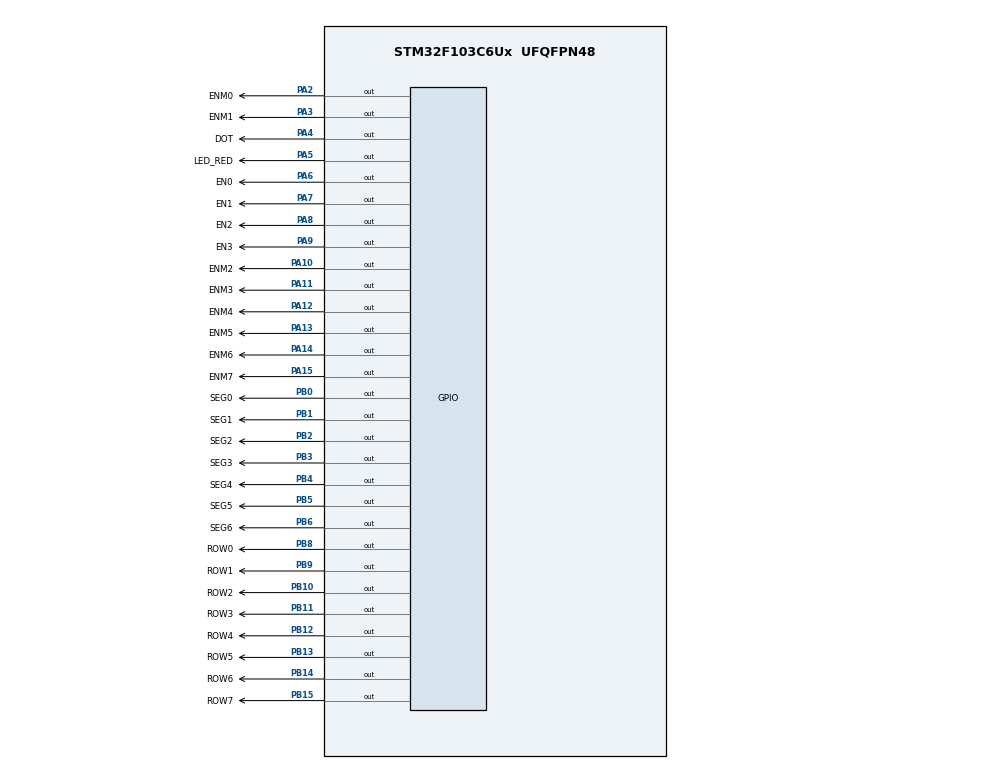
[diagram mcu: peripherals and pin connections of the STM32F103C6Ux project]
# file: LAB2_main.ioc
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Mcu.Family=STM32F1
Mcu.Name=STM32F103C6Ux
Mcu.Package=UFQFPN48
NVIC.PriorityGroup=NVIC_PRIORITYGROUP_4
NVIC.TIM2_IRQn=true\:0\:0\:false\:false\:true\:true\:true
PA10.GPIO_Label=ENM2
PA10.Signal=GPIO_Output
PA11.GPIO_Label=ENM3
PA11.Signal=GPIO_Output
PA12.GPIO_Label=ENM4
PA12.Signal=GPIO_Output
PA13.GPIO_Label=ENM5
PA13.Signal=GPIO_Output
PA14.GPIO_Label=ENM6
PA14.Signal=GPIO_Output
PA15.GPIO_Label=ENM7
PA15.Signal=GPIO_Output
PA2.GPIO_Label=ENM0
PA2.Signal=GPIO_Output
PA3.GPIO_Label=ENM1
PA3.Signal=GPIO_Output
PA4.GPIO_Label=DOT
PA4.Signal=GPIO_Output
PA5.GPIO_Label=LED_RED
PA5.Signal=GPIO_Output
PA6.GPIO_Label=EN0
PA6.Signal=GPIO_Output
PA7.GPIO_Label=EN1
PA7.Signal=GPIO_Output
PA8.GPIO_Label=EN2
PA8.Signal=GPIO_Output
PA9.GPIO_Label=EN3
PA9.Signal=GPIO_Output
PB0.GPIO_Label=SEG0
PB0.Signal=GPIO_Output
PB1.GPIO_Label=SEG1
PB1.Signal=GPIO_Output
PB10.GPIO_Label=ROW2
PB10.Signal=GPIO_Output
PB11.GPIO_Label=ROW3
PB11.Signal=GPIO_Output
PB12.GPIO_Label=ROW4
PB12.Signal=GPIO_Output
PB13.GPIO_Label=ROW5
PB13.Signal=GPIO_Output
PB14.GPIO_Label=ROW6
PB14.Signal=GPIO_Output
PB15.GPIO_Label=ROW7
PB15.Signal=GPIO_Output
PB2.GPIO_Label=SEG2
PB2.Signal=GPIO_Output
PB3.GPIO_Label=SEG3
PB3.Signal=GPIO_Output
PB4.GPIO_Label=SEG4
PB4.Signal=GPIO_Output
PB5.GPIO_Label=SEG5
PB5.Signal=GPIO_Output
PB6.GPIO_Label=SEG6
PB6.Signal=GPIO_Output
PB8.GPIO_Label=ROW0
PB8.Signal=GPIO_Output
PB9.GPIO_Label=ROW1
PB9.Signal=GPIO_Output
ProjectManager.HeapSize=0x200
ProjectManager.StackSize=0x400
ProjectManager.TargetToolchain=STM32CubeIDE
RCC.APB1Freq_Value=8000000
RCC.APB2Freq_Value=8000000
TIM2.Period=9
TIM2.Prescaler=7999
VP_SYS_VS_ND.Mode=No_Debug
VP_TIM2_VS_ClockSourceINT.Mode=Internal
board=custom

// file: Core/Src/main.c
/* USER CODE BEGIN Header */
/**
  ******************************************************************************
  * @file           : main.c
  * @brief          : Main program body
  ******************************************************************************
  * @attention
  *
  * <h2><center>&copy; Copyright (c) 2023 STMicroelectronics.
  * All rights reserved.</center></h2>
  *
  * This software component is licensed by ST under BSD 3-Clause license,
  * the "License"; You may not use this file except in compliance with the
  * License. You may obtain a copy of the License at:
  *                        opensource.org/licenses/BSD-3-Clause
  *
  ******************************************************************************
  */
/* USER CODE END Header */
#include "main.h"

/* USER CODE BEGIN Includes */
#include "software_timer.h"
/* USER CODE END Includes */

TIM_HandleTypeDef htim2;

void SystemClock_Config(void);
static void MX_GPIO_Init(void);
static void MX_TIM2_Init(void);

void display7SEG(int num){
	switch(num){
	case 0:
		HAL_GPIO_WritePin(SEG0_GPIO_Port, SEG0_Pin, GPIO_PIN_RESET);
		HAL_GPIO_WritePin(SEG1_GPIO_Port, SEG1_Pin, GPIO_PIN_RESET);
		HAL_GPIO_WritePin(SEG2_GPIO_Port, SEG2_Pin, GPIO_PIN_RESET);
		HAL_GPIO_WritePin(SEG3_GPIO_Port, SEG3_Pin, GPIO_PIN_RESET);
		HAL_GPIO_WritePin(SEG4_GPIO_Port, SEG4_Pin, GPIO_PIN_RESET);
		HAL_GPIO_WritePin(SEG5_GPIO_Port, SEG5_Pin, GPIO_PIN_RESET);
		HAL_GPIO_WritePin(SEG6_GPIO_Port, SEG6_Pin, GPIO_PIN_SET);
		break;
	case 1:
		HAL_GPIO_WritePin(SEG0_GPIO_Port, SEG0_Pin, GPIO_PIN_SET);
		HAL_GPIO_WritePin(SEG1_GPIO_Port, SEG1_Pin, GPIO_PIN_RESET);
		HAL_GPIO_WritePin(SEG2_GPIO_Port, SEG2_Pin, GPIO_PIN_RESET);
		HAL_GPIO_WritePin(SEG3_GPIO_Port, SEG3_Pin, GPIO_PIN_SET);
		HAL_GPIO_WritePin(SEG4_GPIO_Port, SEG4_Pin, GPIO_PIN_SET);
		HAL_GPIO_WritePin(SEG5_GPIO_Port, SEG5_Pin, GPIO_PIN_SET);
		HAL_GPIO_WritePin(SEG6_GPIO_Port, SEG6_Pin, GPIO_PIN_SET);
		break;
	case 2:
		HAL_GPIO_WritePin(SEG0_GPIO_Port, SEG0_Pin, GPIO_PIN_RESET);
		HAL_GPIO_WritePin(SEG1_GPIO_Port, SEG1_Pin, GPIO_PIN_RESET);
		HAL_GPIO_WritePin(SEG2_GPIO_Port, SEG2_Pin, GPIO_PIN_SET);
		HAL_GPIO_WritePin(SEG3_GPIO_Port, SEG3_Pin, GPIO_PIN_RESET);
		HAL_GPIO_WritePin(SEG4_GPIO_Port, SEG4_Pin, GPIO_PIN_RESET);
		HAL_GPIO_WritePin(SEG5_GPIO_Port, SEG5_Pin, GPIO_PIN_SET);
		HAL_GPIO_WritePin(SEG6_GPIO_Port, SEG6_Pin, GPIO_PIN_RESET);
		break;
	case 3:
		HAL_GPIO_WritePin(SEG0_GPIO_Port, SEG0_Pin, GPIO_PIN_RESET);
		HAL_GPIO_WritePin(SEG1_GPIO_Port, SEG1_Pin, GPIO_PIN_RESET);
		HAL_GPIO_WritePin(SEG2_GPIO_Port, SEG2_Pin, GPIO_PIN_RESET);
		HAL_GPIO_WritePin(SEG3_GPIO_Port, SEG3_Pin, GPIO_PIN_RESET);
		HAL_GPIO_WritePin(SEG4_GPIO_Port, SEG4_Pin, GPIO_PIN_SET);
		HAL_GPIO_WritePin(SEG5_GPIO_Port, SEG5_Pin, GPIO_PIN_SET);
		HAL_GPIO_WritePin(SEG6_GPIO_Port, SEG6_Pin, GPIO_PIN_RESET);
		break;
	case 4:
		HAL_GPIO_WritePin(SEG0_GPIO_Port, SEG0_Pin, GPIO_PIN_SET);
		HAL_GPIO_WritePin(SEG1_GPIO_Port, SEG1_Pin, GPIO_PIN_RESET);
		HAL_GPIO_WritePin(SEG2_GPIO_Port, SEG2_Pin, GPIO_PIN_RESET);
		HAL_GPIO_WritePin(SEG3_GPIO_Port, SEG3_Pin, GPIO_PIN_SET);
		HAL_GPIO_WritePin(SEG4_GPIO_Port, SEG4_Pin, GPIO_PIN_SET);
		HAL_GPIO_WritePin(SEG5_GPIO_Port, SEG5_Pin, GPIO_PIN_RESET);
		HAL_GPIO_WritePin(SEG6_GPIO_Port, SEG6_Pin, GPIO_PIN_RESET);
		break;
	case 5:
		HAL_GPIO_WritePin(SEG0_GPIO_Port, SEG0_Pin, GPIO_PIN_RESET);
		HAL_GPIO_WritePin(SEG1_GPIO_Port, SEG1_Pin, GPIO_PIN_SET);
		HAL_GPIO_WritePin(SEG2_GPIO_Port, SEG2_Pin, GPIO_PIN_RESET);
		HAL_GPIO_WritePin(SEG3_GPIO_Port, SEG3_Pin, GPIO_PIN_RESET);
		HAL_GPIO_WritePin(SEG4_GPIO_Port, SEG4_Pin, GPIO_PIN_SET);
		HAL_GPIO_WritePin(SEG5_GPIO_Port, SEG5_Pin, GPIO_PIN_RESET);
		HAL_GPIO_WritePin(SEG6_GPIO_Port, SEG6_Pin, GPIO_PIN_RESET);
		break;
	case 6:
		HAL_GPIO_WritePin(SEG0_GPIO_Port, SEG0_Pin, GPIO_PIN_RESET);
		HAL_GPIO_WritePin(SEG1_GPIO_Port, SEG1_Pin, GPIO_PIN_SET);
		HAL_GPIO_WritePin(SEG2_GPIO_Port, SEG2_Pin, GPIO_PIN_RESET);
		HAL_GPIO_WritePin(SEG3_GPIO_Port, SEG3_Pin, GPIO_PIN_RESET);
		HAL_GPIO_WritePin(SEG4_GPIO_Port, SEG4_Pin, GPIO_PIN_RESET);
		HAL_GPIO_WritePin(SEG5_GPIO_Port, SEG5_Pin, GPIO_PIN_RESET);
		HAL_GPIO_WritePin(SEG6_GPIO_Port, SEG6_Pin, GPIO_PIN_RESET);
		break;
	case 7:
		HAL_GPIO_WritePin(SEG0_GPIO_Port, SEG0_Pin, GPIO_PIN_RESET);
		HAL_GPIO_WritePin(SEG1_GPIO_Port, SEG1_Pin, GPIO_PIN_RESET);
		HAL_GPIO_WritePin(SEG2_GPIO_Port, SEG2_Pin, GPIO_PIN_RESET);
		HAL_GPIO_WritePin(SEG3_GPIO_Port, SEG3_Pin, GPIO_PIN_SET);
		HAL_GPIO_WritePin(SEG4_GPIO_Port, SEG4_Pin, GPIO_PIN_SET);
		HAL_GPIO_WritePin(SEG5_GPIO_Port, SEG5_Pin, GPIO_PIN_SET);
		HAL_GPIO_WritePin(SEG6_GPIO_Port, SEG6_Pin, GPIO_PIN_SET);
		break;
	case 8:
		HAL_GPIO_WritePin(SEG0_GPIO_Port, SEG0_Pin, GPIO_PIN_RESET);
		HAL_GPIO_WritePin(SEG1_GPIO_Port, SEG1_Pin, GPIO_PIN_RESET);
		HAL_GPIO_WritePin(SEG2_GPIO_Port, SEG2_Pin, GPIO_PIN_RESET);
		HAL_GPIO_WritePin(SEG3_GPIO_Port, SEG3_Pin, GPIO_PIN_RESET);
		HAL_GPIO_WritePin(SEG4_GPIO_Port, SEG4_Pin, GPIO_PIN_RESET);
		HAL_GPIO_WritePin(SEG5_GPIO_Port, SEG5_Pin, GPIO_PIN_RESET);
		HAL_GPIO_WritePin(SEG6_GPIO_Port, SEG6_Pin, GPIO_PIN_RESET);
		break;
	case 9:
		HAL_GPIO_WritePin(SEG0_GPIO_Port, SEG0_Pin, GPIO_PIN_RESET);
		HAL_GPIO_WritePin(SEG1_GPIO_Port, SEG1_Pin, GPIO_PIN_RESET);
		HAL_GPIO_WritePin(SEG2_GPIO_Port, SEG2_Pin, GPIO_PIN_RESET);
		HAL_GPIO_WritePin(SEG3_GPIO_Port, SEG3_Pin, GPIO_PIN_RESET);
		HAL_GPIO_WritePin(SEG4_GPIO_Port, SEG4_Pin, GPIO_PIN_SET);
		HAL_GPIO_WritePin(SEG5_GPIO_Port, SEG5_Pin, GPIO_PIN_RESET);
		HAL_GPIO_WritePin(SEG6_GPIO_Port, SEG6_Pin, GPIO_PIN_RESET);
		break;
	default:
		break;
	}
}
const int MAX_LED = 4;
int index_led = 0;
int led_buffer[4] = {2,3,5,9};
int hour = 23, minute = 59, second = 55;
void update7SEG(int index){
	switch(index){
	case 0:
		  HAL_GPIO_WritePin(EN0_GPIO_Port, EN0_Pin, GPIO_PIN_RESET);
		  HAL_GPIO_WritePin(EN1_GPIO_Port, EN1_Pin, GPIO_PIN_SET);
		  HAL_GPIO_WritePin(EN2_GPIO_Port, EN2_Pin, GPIO_PIN_SET);
		  HAL_GPIO_WritePin(EN3_GPIO_Port, EN3_Pin, GPIO_PIN_SET);
		  display7SEG(led_buffer[0]);
		break;
	case 1:
		  HAL_GPIO_WritePin(EN0_GPIO_Port, EN0_Pin, GPIO_PIN_SET);
		  HAL_GPIO_WritePin(EN1_GPIO_Port, EN1_Pin, GPIO_PIN_RESET);
		  HAL_GPIO_WritePin(EN2_GPIO_Port, EN2_Pin, GPIO_PIN_SET);
		  HAL_GPIO_WritePin(EN3_GPIO_Port, EN3_Pin, GPIO_PIN_SET);
		  display7SEG(led_buffer[1]);
		break;
	case 2:
		  HAL_GPIO_WritePin(EN0_GPIO_Port, EN0_Pin, GPIO_PIN_SET);
		  HAL_GPIO_WritePin(EN1_GPIO_Port, EN1_Pin, GPIO_PIN_SET);
		  HAL_GPIO_WritePin(EN2_GPIO_Port, EN2_Pin, GPIO_PIN_RESET);
		  HAL_GPIO_WritePin(EN3_GPIO_Port, EN3_Pin, GPIO_PIN_SET);
		  display7SEG(led_buffer[2]);
		break;
	case 3:
		  HAL_GPIO_WritePin(EN0_GPIO_Port, EN0_Pin, GPIO_PIN_SET);
		  HAL_GPIO_WritePin(EN1_GPIO_Port, EN1_Pin, GPIO_PIN_SET);
		  HAL_GPIO_WritePin(EN2_GPIO_Port, EN2_Pin, GPIO_PIN_SET);
		  HAL_GPIO_WritePin(EN3_GPIO_Port, EN3_Pin, GPIO_PIN_RESET);
		  display7SEG(led_buffer[3]);
		break;
	default:
		break;
	}
}
void updateClockBuffer(){
	led_buffer[0] = (int)(hour / 10);
	led_buffer[1] = hour % 10;
	led_buffer[2] = (int)(minute / 10);
	led_buffer[3] = minute % 10;
}
const int MAX_LED_MATRIX = 8;
int index_led_matrix = 0;
int shift = 0;
uint8_t matrix_buffer[8] = {0x18, 0x3C, 0x66, 0x66, 0x7E, 0x7E, 0x66, 0x66};
uint16_t cols[8] = {ENM0_Pin, ENM1_Pin, ENM2_Pin, ENM3_Pin, ENM4_Pin, ENM5_Pin, ENM6_Pin, ENM7_Pin};
void clearAllMatrix(){
	  HAL_GPIO_WritePin(GPIOB, ROW0_Pin, SET);
	  HAL_GPIO_WritePin(GPIOB, ROW1_Pin, SET);
	  HAL_GPIO_WritePin(GPIOB, ROW2_Pin, SET);
	  HAL_GPIO_WritePin(GPIOB, ROW3_Pin, SET);
	  HAL_GPIO_WritePin(GPIOB, ROW4_Pin, SET);
	  HAL_GPIO_WritePin(GPIOB, ROW5_Pin, SET);
	  HAL_GPIO_WritePin(GPIOB, ROW6_Pin, SET);
	  HAL_GPIO_WritePin(GPIOB, ROW7_Pin, SET);
	  HAL_GPIO_WritePin(GPIOA, ENM0_Pin, SET);
	  HAL_GPIO_WritePin(GPIOA, ENM1_Pin, SET);
	  HAL_GPIO_WritePin(GPIOA, ENM2_Pin, SET);
	  HAL_GPIO_WritePin(GPIOA, ENM3_Pin, SET);
	  HAL_GPIO_WritePin(GPIOA, ENM4_Pin, SET);
	  HAL_GPIO_WritePin(GPIOA, ENM5_Pin, SET);
	  HAL_GPIO_WritePin(GPIOA, ENM6_Pin, SET);
	  HAL_GPIO_WritePin(GPIOA, ENM7_Pin, SET);
}
void updateCols(uint8_t code){
	if((code >> 0) & 1){
		HAL_GPIO_WritePin(GPIOA, cols[(0+shift)%8], RESET);
	}
	if((code >> 1) & 1){
		HAL_GPIO_WritePin(GPIOA, cols[(1+shift)%8], RESET);
	}
	if((code >> 2) & 1){
		HAL_GPIO_WritePin(GPIOA, cols[(2+shift)%8], RESET);
	}
	if((code >> 3) & 1){
		HAL_GPIO_WritePin(GPIOA, cols[(3+shift)%8], RESET);
	}
	if((code >> 4) & 1){
		HAL_GPIO_WritePin(GPIOA, cols[(4+shift)%8], RESET);
	}
	if((code >> 5) & 1){
		HAL_GPIO_WritePin(GPIOA, cols[(5+shift)%8], RESET);
	}
	if((code >> 6) & 1){
		HAL_GPIO_WritePin(GPIOA, cols[(6+shift)%8], RESET);
	}
	if((code >> 7) & 1){
		HAL_GPIO_WritePin(GPIOA, cols[(7+shift)%8], RESET);
	}
}
void updateLEDMatrix(int index){
	clearAllMatrix();
	switch(index){
	case 0:
		HAL_GPIO_WritePin(GPIOB, ROW0_Pin, RESET);
		break;
	case 1:
		HAL_GPIO_WritePin(GPIOB, ROW1_Pin, RESET);
		break;
	case 2:
		HAL_GPIO_WritePin(GPIOB, ROW2_Pin, RESET);
		break;
	case 3:
		HAL_GPIO_WritePin(GPIOB, ROW3_Pin, RESET);
		break;
	case 4:
		HAL_GPIO_WritePin(GPIOB, ROW4_Pin, RESET);
		break;
	case 5:
		HAL_GPIO_WritePin(GPIOB, ROW5_Pin, RESET);
		break;
	case 6:
		HAL_GPIO_WritePin(GPIOB, ROW6_Pin, RESET);
		break;
	case 7:
		HAL_GPIO_WritePin(GPIOB, ROW7_Pin, RESET);
		break;
	default:
		break;
	}
	updateCols(matrix_buffer[index]);
}
int main(void)
{

  /* MCU Configuration--------------------------------------------------------*/

  /* Reset of all peripherals, Initializes the Flash interface and the Systick. */
  HAL_Init();

  /* Configure the system clock */
  SystemClock_Config();

  /* Initialize all configured peripherals */
  MX_GPIO_Init();
  MX_TIM2_Init();
  /* USER CODE BEGIN 2 */
HAL_TIM_Base_Start_IT(&htim2);
  /* USER CODE END 2 */

  /* Infinite loop */
  /* USER CODE BEGIN WHILE */
setTimer0(100);
setTimer1(100);
setTimer2(25);
setTimer3(5);
setTimer4(80);
HAL_GPIO_WritePin(SEG0_GPIO_Port, SEG0_Pin, GPIO_PIN_SET);
HAL_GPIO_WritePin(SEG1_GPIO_Port, SEG1_Pin, GPIO_PIN_SET);
HAL_GPIO_WritePin(SEG2_GPIO_Port, SEG2_Pin, GPIO_PIN_SET);
HAL_GPIO_WritePin(SEG3_GPIO_Port, SEG3_Pin, GPIO_PIN_SET);
HAL_GPIO_WritePin(SEG4_GPIO_Port, SEG4_Pin, GPIO_PIN_SET);
HAL_GPIO_WritePin(SEG5_GPIO_Port, SEG5_Pin, GPIO_PIN_SET);
HAL_GPIO_WritePin(SEG6_GPIO_Port, SEG6_Pin, GPIO_PIN_SET);
HAL_GPIO_WritePin(LED_RED_GPIO_Port, LED_RED_Pin, SET);
HAL_GPIO_WritePin(DOT_GPIO_Port, DOT_Pin, SET);
clearAllMatrix();
  while (1)
  {
	  if(timer0_flag == 1){
		  setTimer0(100);
		  HAL_GPIO_TogglePin(LED_RED_GPIO_Port, LED_RED_Pin);
	  }
	  if(timer1_flag == 1){
		  setTimer1(100);
		  second ++;
		  if(second >= 60){
			  second = 0;
			  minute ++;
		  }
		  if(minute >= 60){
			  minute = 0;
			  hour ++;
		  }
		  if(hour >= 24){
			  hour = 0;
		  }
		  updateClockBuffer();
		  HAL_GPIO_TogglePin(DOT_GPIO_Port, DOT_Pin);
	  }
	  if(timer2_flag == 1){
		  setTimer2(25);
		  if(index_led >= MAX_LED) index_led = 0;
		  update7SEG(index_led ++);
	  }
	  if(timer3_flag == 1){
		  setTimer3(5);
		  if(index_led_matrix >= MAX_LED_MATRIX) index_led_matrix = 0;
		  updateLEDMatrix(index_led_matrix++);
	  }
	  if(timer4_flag == 1){
		  setTimer4(80);
		  shift++;
		  if(shift >= MAX_LED_MATRIX) shift = 0;
	  }
    /* USER CODE END WHILE */

  }
}

void SystemClock_Config(void)
{
  RCC_OscInitTypeDef RCC_OscInitStruct = {0};
  RCC_ClkInitTypeDef RCC_ClkInitStruct = {0};

  /** Initializes the RCC Oscillators according to the specified parameters
  * in the RCC_OscInitTypeDef structure.
  */
  RCC_OscInitStruct.OscillatorType = RCC_OSCILLATORTYPE_HSI;
  RCC_OscInitStruct.HSIState = RCC_HSI_ON;
  RCC_OscInitStruct.HSICalibrationValue = RCC_HSICALIBRATION_DEFAULT;
  RCC_OscInitStruct.PLL.PLLState = RCC_PLL_NONE;
  if (HAL_RCC_OscConfig(&RCC_OscInitStruct) != HAL_OK)
  {
    Error_Handler();
  }
  /** Initializes the CPU, AHB and APB buses clocks
  */
  RCC_ClkInitStruct.ClockType = RCC_CLOCKTYPE_HCLK|RCC_CLOCKTYPE_SYSCLK
                              |RCC_CLOCKTYPE_PCLK1|RCC_CLOCKTYPE_PCLK2;
  RCC_ClkInitStruct.SYSCLKSource = RCC_SYSCLKSOURCE_HSI;
  RCC_ClkInitStruct.AHBCLKDivider = RCC_SYSCLK_DIV1;
  RCC_ClkInitStruct.APB1CLKDivider = RCC_HCLK_DIV1;
  RCC_ClkInitStruct.APB2CLKDivider = RCC_HCLK_DIV1;

  if (HAL_RCC_ClockConfig(&RCC_ClkInitStruct, FLASH_LATENCY_0) != HAL_OK)
  {
    Error_Handler();
  }
}

static void MX_TIM2_Init(void)
{

  TIM_ClockConfigTypeDef sClockSourceConfig = {0};
  TIM_MasterConfigTypeDef sMasterConfig = {0};

  htim2.Instance = TIM2;
  htim2.Init.Prescaler = 7999;
  htim2.Init.CounterMode = TIM_COUNTERMODE_UP;
  htim2.Init.Period = 9;
  htim2.Init.ClockDivision = TIM_CLOCKDIVISION_DIV1;
  htim2.Init.AutoReloadPreload = TIM_AUTORELOAD_PRELOAD_DISABLE;
  if (HAL_TIM_Base_Init(&htim2) != HAL_OK)
  {
    Error_Handler();
  }
  sClockSourceConfig.ClockSource = TIM_CLOCKSOURCE_INTERNAL;
  if (HAL_TIM_ConfigClockSource(&htim2, &sClockSourceConfig) != HAL_OK)
  {
    Error_Handler();
  }
  sMasterConfig.MasterOutputTrigger = TIM_TRGO_RESET;
  sMasterConfig.MasterSlaveMode = TIM_MASTERSLAVEMODE_DISABLE;
  if (HAL_TIMEx_MasterConfigSynchronization(&htim2, &sMasterConfig) != HAL_OK)
  {
    Error_Handler();
  }

}

static void MX_GPIO_Init(void)
{
  GPIO_InitTypeDef GPIO_InitStruct = {0};

  /* GPIO Ports Clock Enable */
  __HAL_RCC_GPIOA_CLK_ENABLE();
  __HAL_RCC_GPIOB_CLK_ENABLE();

  /*Configure GPIO pin Output Level */
  HAL_GPIO_WritePin(GPIOA, ENM0_Pin|ENM1_Pin|DOT_Pin|LED_RED_Pin
                          |EN0_Pin|EN1_Pin|EN2_Pin|EN3_Pin
                          |ENM2_Pin|ENM3_Pin|ENM4_Pin|ENM5_Pin
                          |ENM6_Pin|ENM7_Pin, GPIO_PIN_RESET);

  /*Configure GPIO pin Output Level */
  HAL_GPIO_WritePin(GPIOB, SEG0_Pin|SEG1_Pin|SEG2_Pin|ROW2_Pin
                          |ROW3_Pin|ROW4_Pin|ROW5_Pin|ROW6_Pin
                          |ROW7_Pin|SEG3_Pin|SEG4_Pin|SEG5_Pin
                          |SEG6_Pin|ROW0_Pin|ROW1_Pin, GPIO_PIN_RESET);

  /*Configure GPIO pins : ENM0_Pin ENM1_Pin DOT_Pin LED_RED_Pin
                           EN0_Pin EN1_Pin EN2_Pin EN3_Pin
                           ENM2_Pin ENM3_Pin ENM4_Pin ENM5_Pin
                           ENM6_Pin ENM7_Pin */
  GPIO_InitStruct.Pin = ENM0_Pin|ENM1_Pin|DOT_Pin|LED_RED_Pin
                          |EN0_Pin|EN1_Pin|EN2_Pin|EN3_Pin
                          |ENM2_Pin|ENM3_Pin|ENM4_Pin|ENM5_Pin
                          |ENM6_Pin|ENM7_Pin;
  GPIO_InitStruct.Mode = GPIO_MODE_OUTPUT_PP;
  GPIO_InitStruct.Pull = GPIO_NOPULL;
  GPIO_InitStruct.Speed = GPIO_SPEED_FREQ_LOW;
  HAL_GPIO_Init(GPIOA, &GPIO_InitStruct);

  /*Configure GPIO pins : SEG0_Pin SEG1_Pin SEG2_Pin ROW2_Pin
                           ROW3_Pin ROW4_Pin ROW5_Pin ROW6_Pin
                           ROW7_Pin SEG3_Pin SEG4_Pin SEG5_Pin
                           SEG6_Pin ROW0_Pin ROW1_Pin */
  GPIO_InitStruct.Pin = SEG0_Pin|SEG1_Pin|SEG2_Pin|ROW2_Pin
                          |ROW3_Pin|ROW4_Pin|ROW5_Pin|ROW6_Pin
                          |ROW7_Pin|SEG3_Pin|SEG4_Pin|SEG5_Pin
                          |SEG6_Pin|ROW0_Pin|ROW1_Pin;
  GPIO_InitStruct.Mode = GPIO_MODE_OUTPUT_PP;
  GPIO_InitStruct.Pull = GPIO_NOPULL;
  GPIO_InitStruct.Speed = GPIO_SPEED_FREQ_LOW;
  HAL_GPIO_Init(GPIOB, &GPIO_InitStruct);

}

/* USER CODE BEGIN 4 */
void HAL_TIM_PeriodElapsedCallback(TIM_HandleTypeDef *htim){
	timerRun();
}
/* USER CODE END 4 */

void Error_Handler(void)
{
  __disable_irq();
  while (1)
  {
  }
}

/************************ (C) COPYRIGHT STMicroelectronics *****END OF FILE****/
